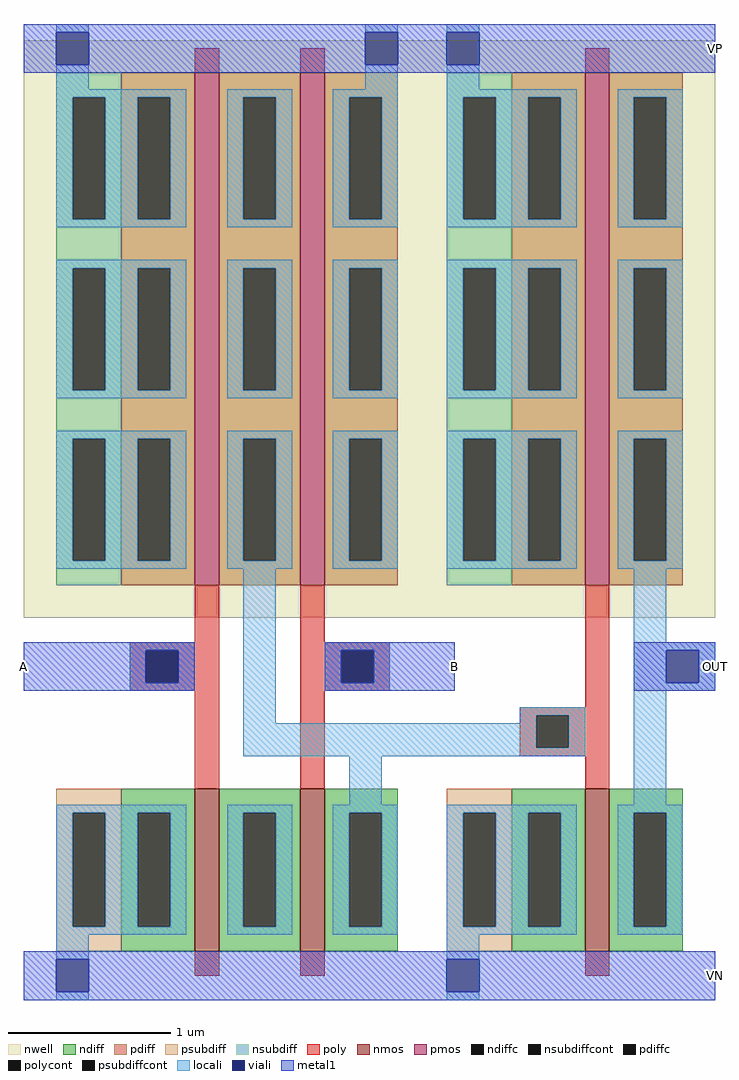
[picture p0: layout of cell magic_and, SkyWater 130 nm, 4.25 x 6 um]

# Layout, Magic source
magic
tech sky130A
<< nwell >>
rect -120 205 305 560
<< nmos >>
rect -15 0 0 100
rect 50 0 65 100
rect 225 0 240 100
<< pmos >>
rect -15 225 0 540
rect 50 225 65 540
rect 225 225 240 540
<< ndiff >>
rect -60 85 -15 100
rect -60 15 -50 85
rect -30 15 -15 85
rect -60 0 -15 15
rect 0 85 50 100
rect 0 15 15 85
rect 35 15 50 85
rect 0 0 50 15
rect 65 85 110 100
rect 65 15 80 85
rect 100 15 110 85
rect 65 0 110 15
rect 180 85 225 100
rect 180 15 190 85
rect 210 15 225 85
rect 180 0 225 15
rect 240 85 285 100
rect 240 15 255 85
rect 275 15 285 85
rect 240 0 285 15
<< pdiff >>
rect -60 525 -15 540
rect -60 450 -50 525
rect -30 450 -15 525
rect -60 420 -15 450
rect -60 345 -50 420
rect -30 345 -15 420
rect -60 315 -15 345
rect -60 240 -50 315
rect -30 240 -15 315
rect -60 225 -15 240
rect 0 525 50 540
rect 0 450 15 525
rect 35 450 50 525
rect 0 420 50 450
rect 0 345 15 420
rect 35 345 50 420
rect 0 315 50 345
rect 0 240 15 315
rect 35 240 50 315
rect 0 225 50 240
rect 65 525 110 540
rect 65 450 80 525
rect 100 450 110 525
rect 65 420 110 450
rect 65 345 80 420
rect 100 345 110 420
rect 65 315 110 345
rect 65 240 80 315
rect 100 240 110 315
rect 65 225 110 240
rect 180 525 225 540
rect 180 450 190 525
rect 210 450 225 525
rect 180 420 225 450
rect 180 345 190 420
rect 210 345 225 420
rect 180 315 225 345
rect 180 240 190 315
rect 210 240 225 315
rect 180 225 225 240
rect 240 525 285 540
rect 240 450 255 525
rect 275 450 285 525
rect 240 420 285 450
rect 240 345 255 420
rect 275 345 285 420
rect 240 315 285 345
rect 240 240 255 315
rect 275 240 285 315
rect 240 225 285 240
<< ndiffc >>
rect -50 15 -30 85
rect 15 15 35 85
rect 80 15 100 85
rect 190 15 210 85
rect 255 15 275 85
<< pdiffc >>
rect -50 450 -30 525
rect -50 345 -30 420
rect -50 240 -30 315
rect 15 450 35 525
rect 15 345 35 420
rect 15 240 35 315
rect 80 450 100 525
rect 80 345 100 420
rect 80 240 100 315
rect 190 450 210 525
rect 190 345 210 420
rect 190 240 210 315
rect 255 450 275 525
rect 255 345 275 420
rect 255 240 275 315
<< psubdiff >>
rect -100 85 -60 100
rect -100 15 -90 85
rect -70 15 -60 85
rect -100 0 -60 15
rect 140 85 180 100
rect 140 15 150 85
rect 170 15 180 85
rect 140 0 180 15
<< nsubdiff >>
rect -100 525 -60 540
rect -100 450 -90 525
rect -70 450 -60 525
rect -100 420 -60 450
rect -100 345 -90 420
rect -70 345 -60 420
rect -100 315 -60 345
rect -100 240 -90 315
rect -70 240 -60 315
rect -100 225 -60 240
rect 140 525 180 540
rect 140 450 150 525
rect 170 450 180 525
rect 140 420 180 450
rect 140 345 150 420
rect 170 345 180 420
rect 140 315 180 345
rect 140 240 150 315
rect 170 240 180 315
rect 140 225 180 240
<< psubdiffcont >>
rect -90 15 -70 85
rect 150 15 170 85
<< nsubdiffcont >>
rect -90 450 -70 525
rect -90 345 -70 420
rect -90 240 -70 315
rect 150 450 170 525
rect 150 345 170 420
rect 150 240 170 315
<< poly >>
rect -15 540 0 555
rect 50 540 65 555
rect 225 540 240 555
rect -15 190 0 225
rect -55 185 0 190
rect -55 165 -45 185
rect -25 165 0 185
rect -55 160 0 165
rect -15 100 0 160
rect 50 190 65 225
rect 50 185 105 190
rect 50 165 75 185
rect 95 165 105 185
rect 50 160 105 165
rect 50 100 65 160
rect 225 150 240 225
rect 185 145 240 150
rect 185 125 195 145
rect 215 125 240 145
rect 185 120 240 125
rect 225 100 240 120
rect -15 -15 0 0
rect 50 -15 65 0
rect 225 -15 240 0
<< polycont >>
rect -45 165 -25 185
rect 75 165 95 185
rect 195 125 215 145
<< locali >>
rect -100 565 -80 570
rect -100 530 -80 545
rect 90 565 110 570
rect 90 530 110 545
rect -100 525 -20 530
rect -100 450 -90 525
rect -70 450 -50 525
rect -30 450 -20 525
rect -100 445 -20 450
rect 5 525 45 530
rect 5 450 15 525
rect 35 450 45 525
rect 5 445 45 450
rect 70 525 110 530
rect 70 450 80 525
rect 100 450 110 525
rect 70 445 110 450
rect 140 565 160 570
rect 140 530 160 545
rect 140 525 220 530
rect 140 450 150 525
rect 170 450 190 525
rect 210 450 220 525
rect 140 445 220 450
rect 245 525 285 530
rect 245 450 255 525
rect 275 450 285 525
rect 245 445 285 450
rect -100 420 -20 425
rect -100 345 -90 420
rect -70 345 -50 420
rect -30 345 -20 420
rect -100 340 -20 345
rect 5 420 45 425
rect 5 345 15 420
rect 35 345 45 420
rect 5 340 45 345
rect 70 420 110 425
rect 70 345 80 420
rect 100 345 110 420
rect 70 340 110 345
rect 140 420 220 425
rect 140 345 150 420
rect 170 345 190 420
rect 210 345 220 420
rect 140 340 220 345
rect 245 420 285 425
rect 245 345 255 420
rect 275 345 285 420
rect 245 340 285 345
rect -100 315 -20 320
rect -100 240 -90 315
rect -70 240 -50 315
rect -30 240 -20 315
rect -100 235 -20 240
rect 5 315 45 320
rect 5 240 15 315
rect 35 240 45 315
rect 5 235 45 240
rect 70 315 110 320
rect 70 240 80 315
rect 100 240 110 315
rect 70 235 110 240
rect 140 315 220 320
rect 140 240 150 315
rect 170 240 190 315
rect 210 240 220 315
rect 140 235 220 240
rect 245 315 285 320
rect 245 240 255 315
rect 275 240 285 315
rect 245 235 285 240
rect -55 185 -15 190
rect -55 165 -45 185
rect -25 165 -15 185
rect -55 160 -15 165
rect 15 140 35 235
rect 255 190 275 235
rect 65 185 105 190
rect 65 165 75 185
rect 95 165 105 185
rect 65 160 105 165
rect 255 185 305 190
rect 255 165 275 185
rect 295 165 305 185
rect 255 160 305 165
rect 185 145 225 150
rect 185 140 195 145
rect 15 125 195 140
rect 215 125 225 145
rect 15 120 225 125
rect 80 90 100 120
rect 255 90 275 160
rect -100 85 -20 90
rect -100 15 -90 85
rect -70 15 -50 85
rect -30 15 -20 85
rect -100 10 -20 15
rect 5 85 45 90
rect 5 15 15 85
rect 35 15 45 85
rect 5 10 45 15
rect 70 85 110 90
rect 70 15 80 85
rect 100 15 110 85
rect 70 10 110 15
rect 140 85 220 90
rect 140 15 150 85
rect 170 15 190 85
rect 210 15 220 85
rect 140 10 220 15
rect 245 85 285 90
rect 245 15 255 85
rect 275 15 285 85
rect 245 10 285 15
rect -100 -5 -80 10
rect -100 -30 -80 -25
rect 140 -5 160 10
rect 140 -30 160 -25
<< viali >>
rect -100 545 -80 565
rect 90 545 110 565
rect 140 545 160 565
rect -45 165 -25 185
rect 75 165 95 185
rect 275 165 295 185
rect -100 -25 -80 -5
rect 140 -25 160 -5
<< metal1 >>
rect -120 565 305 570
rect -120 545 -100 565
rect -80 545 90 565
rect 110 545 140 565
rect 160 545 305 565
rect -120 540 305 545
rect -120 185 -15 190
rect -120 165 -45 185
rect -25 165 -15 185
rect -120 160 -15 165
rect 65 185 145 190
rect 65 165 75 185
rect 95 165 145 185
rect 65 160 145 165
rect 255 185 305 190
rect 255 165 275 185
rect 295 165 305 185
rect 255 160 305 165
rect -120 -5 305 0
rect -120 -25 -100 -5
rect -80 -25 140 -5
rect 160 -25 305 -5
rect -120 -30 305 -25
<< labels >>
rlabel metal1 -120 175 -120 175 7 A
port 1 w
rlabel metal1 145 175 145 175 7 B
port 2 w
rlabel metal1 305 175 305 175 7 OUT
port 3 w
rlabel metal1 305 555 305 555 7 VP
port 4 w
rlabel metal1 305 -15 305 -15 7 VN
port 5 w
<< end >>
